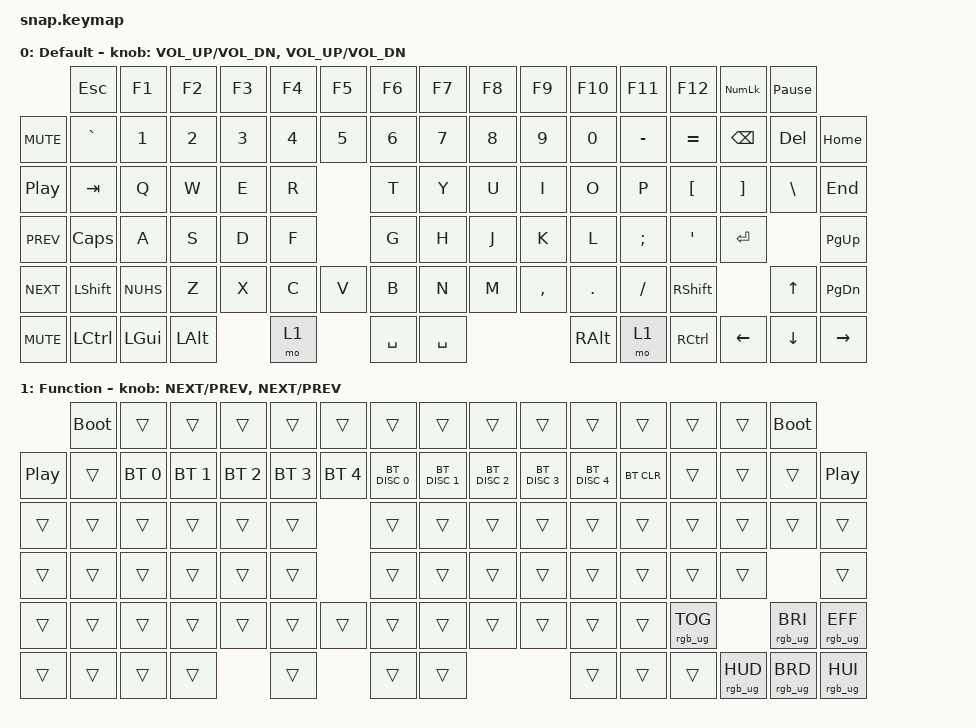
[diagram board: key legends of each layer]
/*
 * Copyright (c) 2022 The ZMK Contributors
 *
 * SPDX-License-Identifier: MIT
 */

#include <behaviors.dtsi>
#include <dt-bindings/zmk/keys.h>
#include <dt-bindings/zmk/rgb.h>
#include <dt-bindings/zmk/bt.h>

&soft_off {
    hold-time-ms = <3000>;
};

/ {
    combos {
        compatible = "zmk,combos";

        combo_soft_off {
            timeout-ms = <50>;
            key-positions = <16 21>;
            layers = <1>;
            bindings = <&soft_off>;
        };

    };
    sensors: sensors {
        compatible = "zmk,keymap-sensors";
        sensors = <&left_encoder &right_encoder>;
        triggers-per-rotation = <20>;
    };

    keymap {
        compatible = "zmk,keymap";

        default_layer {
            display-name = "Default";
            sensor-bindings = <&inc_dec_kp C_VOL_UP C_VOL_DN &inc_dec_kp C_VOL_UP C_VOL_DN>;
            bindings = <
             &kp ESC     &kp F1   &kp F2   &kp F3   &kp F4   &kp F5   &kp F6     &kp F7   &kp F8   &kp F9    &kp F10  &kp F11     &kp F12     &kp KP_NUM   &kp PAUSE_BREAK
&kp C_MUTE   &kp GRAVE   &kp N1   &kp N2   &kp N3   &kp N4   &kp N5   &kp N6     &kp N7   &kp N8   &kp N9    &kp N0   &kp MINUS   &kp EQUAL   &kp BSPC     &kp DEL    &kp HOME
&kp C_PP     &kp TAB     &kp Q    &kp W    &kp E    &kp R             &kp T      &kp Y    &kp U    &kp I     &kp O    &kp P       &kp LBKT    &kp RBKT     &kp BSLH   &kp END
&kp C_PREV   &kp CLCK    &kp A    &kp S    &kp D    &kp F             &kp G      &kp H    &kp J    &kp K     &kp L    &kp SEMI    &kp SQT     &kp RET                 &kp PG_UP
&kp C_NEXT   &kp LSHFT   &kp NUHS &kp Z    &kp X    &kp C    &kp V    &kp B      &kp N    &kp M    &kp COMMA &kp DOT  &kp FSLH    &kp RSHFT                &kp UP     &kp PG_DN
&kp C_MUTE   &kp LCTRL   &kp LGUI &kp LALT          &mo 1            &kp SPACE    &kp SPACE                   &kp RALT &mo 1       &kp RCTRL   &kp LEFT     &kp DOWN   &kp RIGHT
            >;
        };

        function_layer {
            display-name = "Function";
            sensor-bindings = <&inc_dec_kp C_NEXT C_PREV &inc_dec_kp C_NEXT C_PREV>;
            bindings = <
             &bootloader &trans   &trans   &trans   &trans   &trans   &trans     &trans   &trans   &trans   &trans    &trans      &trans      &trans       &bootloader
&kp C_PP     &trans      &bt BT_SEL 0 &bt BT_SEL 1 &bt BT_SEL 2 &bt BT_SEL 3 &bt BT_SEL 4 &bt BT_DISC 0 &bt BT_DISC 1 &bt BT_DISC 2 &bt BT_DISC 3 &bt BT_DISC 4 &bt BT_CLR  &trans      &trans       &trans     &kp C_PP
&trans       &trans      &trans   &trans   &trans   &trans            &trans     &trans   &trans   &trans   &trans    &trans      &trans      &trans       &trans     &trans
&trans       &trans      &trans   &trans   &trans   &trans            &trans     &trans   &trans   &trans   &trans    &trans      &trans                   &trans     &trans
&trans       &trans      &trans   &trans   &trans   &trans   &trans   &trans     &trans   &trans   &trans   &trans    &trans          &rgb_ug RGB_TOG &rgb_ug RGB_BRI &rgb_ug RGB_EFF
&trans       &trans      &trans   &trans            &trans           &trans       &trans                    &trans    &trans  &trans  &rgb_ug RGB_HUD &rgb_ug RGB_BRD &rgb_ug RGB_HUI
            >;
        };
    };
};
